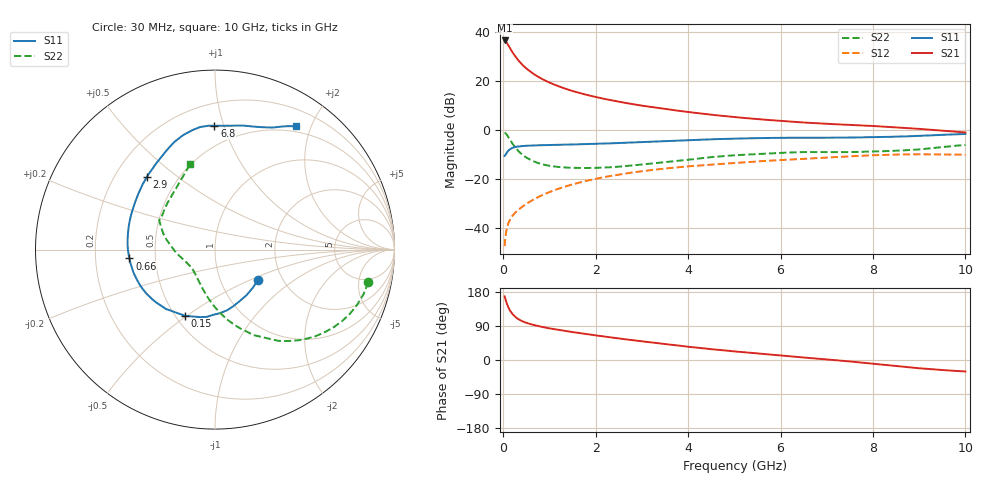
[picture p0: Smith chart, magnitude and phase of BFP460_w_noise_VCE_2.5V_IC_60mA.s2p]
! (c) 2016  Infineon Technologies AG, Munich
! Infineon Technologies  Discrete & RF Semiconductors
! BFP460
! VCE =  2.5 V,  IC =  60 mA
! Common Emitter S-Parameters:  Jan 2016
# GHz  S  MA  R  50
!  f  S11  S21  S12  S22
! GHz  MAG  ANG  MAG  ANG  MAG  ANG  MAG  ANG
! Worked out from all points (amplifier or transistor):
!   229 points, 30 MHz to 10 GHz, reference 50 ohm
!   highest |S21| = 36.5 dB at 30 MHz (marker M1)
!   |S21| within 3 dB of that: start of sweep to 142.5 MHz
!   unconditionally stable (mu >= 1): 978.9 MHz to 7.449 GHz
!   at 280 MHz: K = 0.68, MSG = 31.5 dB, |S12| = -33.5 dB
!   at 1.78 GHz: K = 1.04, MAG = 16.4 dB, |S12| = -20.9 dB
!   at 10 GHz: K = 0.97, MSG = 4.5 dB, |S12| = -10.2 dB
!   lowest NFmin = 1.86 dB at 3.5 GHz
!   S11 on the Smith chart (normalised r, x): 30 MHz: 1.51, -0.56; 150 MHz: 0.56, -0.49; 660 MHz: 0.35, -0.05; 2.9 GHz: 0.34, +0.39; 6.8 GHz: 0.35, +0.93; 10 GHz: 0.42, +1.78
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0.03  0.2931 -35.2  66.92 168.1  0.0042 84.3  0.8729 -12.0
0.05  0.3083 -54.9  64.25 159.2  0.0066 77.5  0.8497 -21.2
0.07  0.3322 -72.4  61.24 151.6  0.0089 72.7  0.8107 -29.7
0.085  0.35 -82.7  58.37 146.8  0.0102 70.5  0.775 -35.4
0.1  0.3631 -91.4  55.26 142.2  0.0115 68.4  0.7388 -40.8
0.12  0.3846 -102.0  51.48 136.6  0.013 65.5  0.6889 -47.1
0.15  0.405 -114.6  45.98 129.7  0.015 63.2  0.6191 -55.2
0.2  0.4287 -129.4  38.46 121.1  0.0176 61.0  0.5228 -65.7
0.26  0.4455 -141.4  31.73 113.8  0.0203 60.5  0.4377 -75.0
0.3  0.4544 -147.5  28.19 109.9  0.022 60.7  0.3936 -80.4
0.36  0.462 -154.4  24.15 105.5  0.0246 61.4  0.3444 -86.7
0.45  0.4697 -162.2  19.72 100.3  0.0285 62.6  0.2921 -94.6
0.66  0.4796 -174.1  13.83 92.4  0.0379 64.8  0.2268 -107.9
0.8  0.4851 -179.8  11.45 88.2  0.0443 65.5  0.2032 -115.0
1.1  0.4922 170.6  8.409 81.4  0.0582 65.6  0.1784 -126.3
1.7  0.5076 156.1  5.493 70.2  0.0862 62.6  0.1659 -141.2
2.9  0.5548 133.1  3.23 50.8  0.1386 52.5  0.1916 -165.8
3.4  0.5778 125.2  2.747 43.6  0.158 47.8  0.2137 -174.2
5.1  0.6652 104.5  1.785 21.7  0.2131 34.0  0.3054 161.9
6.8  0.6897 90.3  1.359 3.6  0.2643 21.1  0.3509 151.2
8.4  0.7206 71.8  1.138 -14.8  0.3113 6.4  0.3706 135.6
10  0.8223 56.7  0.882 -30.3  0.3106 -6.4  0.4943 106.3
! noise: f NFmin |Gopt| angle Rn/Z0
0.45  2.02  0.36  -170  0.13
0.9  2.06  0.34  -160  0.14
1.9  2.16  0.44  -139  0.17
3.5  1.86  0.7  -115  0.32
